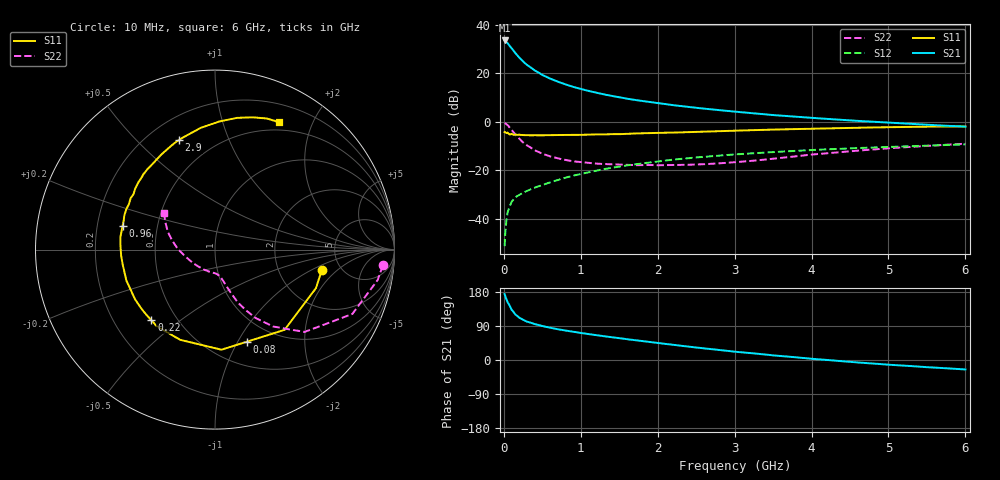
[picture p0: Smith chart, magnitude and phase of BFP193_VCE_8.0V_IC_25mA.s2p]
! Infineon Technologies  Discrete & RF Semiconductors
! BFP193
! VCE = 8.0 V,  IC =  25 mA
! Common Emitter S-Parameters:  Jan 2016
# GHz  S  MA  R  50
!  f  S11  S21  S12  S22
! GHz  MAG  ANG  MAG  ANG  MAG  ANG  MAG  ANG
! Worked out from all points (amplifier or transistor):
!   210 points, 10 MHz to 6 GHz, reference 50 ohm
!   highest |S21| = 33.4 dB at 10 MHz (marker M1)
!   |S21| within 3 dB of that: start of sweep to 96.21 MHz
!   unconditionally stable (mu >= 1): 793.9 MHz to 3.94 GHz
!   at 185 MHz: K = 0.51, MSG = 28.7 dB, |S12| = -30.5 dB
!   at 1.52 GHz: K = 1.07, MAG = 12.6 dB, |S12| = -18.5 dB
!   at 6 GHz: K = 0.93, MSG = 3.7 dB, |S12| = -9.4 dB
!   S11 on the Smith chart (normalised r, x): 10 MHz: 3.59, -1.28; 80 MHz: 0.75, -1.09; 220 MHz: 0.36, -0.40; 960 MHz: 0.31, +0.12; 2.9 GHz: 0.32, +0.67; 6 GHz: 0.40, +1.55
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0.01  0.6061 -10.7  46.92 174.0  0.0027 83.3  0.939 -5.4
0.02  0.6022 -20.9  45.39 167.1  0.0055 84.1  0.922 -10.6
0.05  0.5916 -49.1  41.15 152.0  0.0136 69.4  0.8451 -25.1
0.08  0.543 -71.0  35.6 141.6  0.0186 62.0  0.736 -34.7
0.1  0.5589 -86.3  32.73 132.9  0.022 58.9  0.6776 -42.6
0.15  0.5388 -111.1  25.68 120.0  0.0276 53.6  0.5376 -52.9
0.2  0.5365 -127.2  20.87 111.7  0.0306 51.6  0.4421 -59.4
0.22  0.5299 -132.0  19.41 109.5  0.032 51.2  0.4131 -60.9
0.26  0.5256 -141.0  16.76 104.8  0.0347 51.0  0.3609 -64.0
0.3  0.5246 -148.1  14.74 101.2  0.0371 52.5  0.3235 -66.5
0.4  0.5229 -160.8  11.35 94.8  0.0434 54.1  0.2571 -69.9
0.5  0.5207 -168.9  9.147 89.6  0.0489 54.8  0.2174 -72.1
0.7  0.5274 177.6  6.644 81.1  0.0623 57.3  0.1745 -75.9
0.96  0.5311 165.4  4.886 72.7  0.0802 58.0  0.1482 -80.2
1.02  0.5332 162.7  4.606 70.8  0.0841 58.0  0.1449 -81.4
1.4  0.5505 148.7  3.373 60.3  0.1105 55.9  0.1318 -90.8
2.02  0.5849 130.2  2.368 44.5  0.1522 49.9  0.1258 -111.2
2.9  0.6428 108.1  1.66 24.2  0.2045 39.9  0.1411 -146.6
3.1  0.6549 104.0  1.551 20.2  0.215 37.5  0.1492 -154.2
4.1  0.7194 86.5  1.163 1.7  0.2635 26.2  0.2152 176.1
5.1  0.7692 73.0  0.932 -13.6  0.3037 15.5  0.2878 157.5
6  0.7947 63.3  0.786 -25.0  0.3382 6.1  0.3495 144.4
